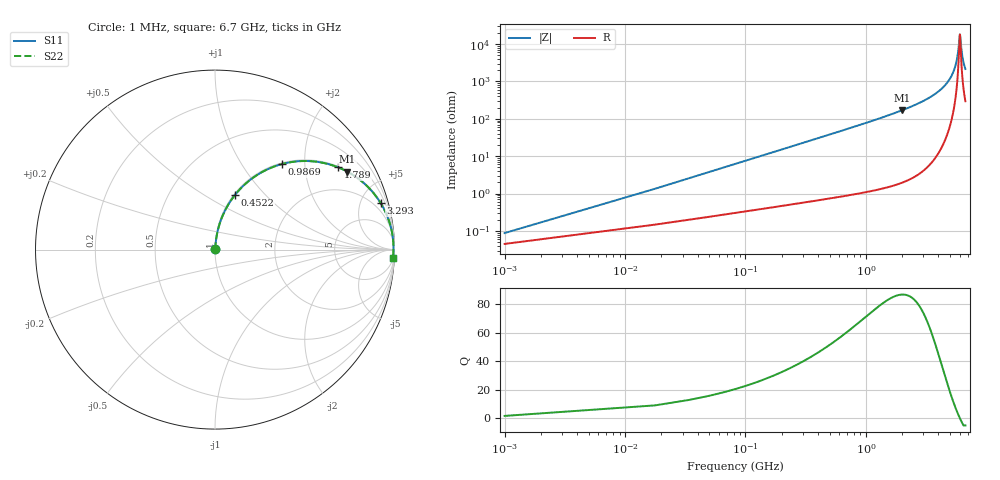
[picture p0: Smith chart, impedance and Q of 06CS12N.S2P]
! Coilcraft 0603CS-12N Chip Inductor
! 21 May 2002
# MHZ S MA R 50
!Freq  MagS11  AngS11  MagS21  AngS21  MagS12  AngS12  MagS22  AngS22
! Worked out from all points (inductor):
!   402 points, 1 MHz to 6.7 GHz, reference 50 ohm
!   read as one part in series: L = 12 nH near 34.42 MHz
!   highest Q = 86.6 at 1.989 GHz (marker M1), where L = 13.5 nH
!   self-resonance near 6.033 GHz
!   S11 on the Smith chart (normalised r, x): 1 MHz: 1.00, +0.00; 452.2 MHz: 1.01, +0.69; 986.9 MHz: 1.02, +1.53; 1.789 GHz: 1.03, +2.96; 3.293 GHz: 1.11, +7.07; 6.7 GHz: 7, -43
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1  0.0008777 59.1  0.9995 -0.0  0.9995 -0.0  0.0008777 59.1
51.13  0.03851 84.2  0.9969 -2.2  0.9969 -2.2  0.03851 84.2
67.84  0.05102 84.0  0.9959 -2.9  0.9959 -2.9  0.05102 84.0
101.26  0.07597 83.1  0.9938 -4.4  0.9938 -4.4  0.07597 83.1
151.39  0.1131 81.5  0.9896 -6.5  0.9896 -6.5  0.1131 81.5
234.94  0.1739 78.4  0.9798 -10.0  0.9798 -10.0  0.1739 78.4
452.17  0.3224 70.0  0.94 -18.8  0.94 -18.8  0.3224 70.0
986.89  0.6033 52.1  0.789 -37.1  0.789 -37.1  0.6033 52.1
1120.57  0.6542 48.4  0.7476 -40.9  0.7476 -40.9  0.6542 48.4
1788.97  0.824 33.9  0.5571 -55.5  0.5571 -55.5  0.824 33.9
1989.49  0.8554 30.5  0.5082 -58.8  0.5082 -58.8  0.8554 30.5
2240.14  0.8865 26.9  0.4525 -62.4  0.4525 -62.4  0.8865 26.9
3292.87  0.9585 15.7  0.2711 -73.4  0.2711 -73.4  0.9585 15.7
3359.71  0.9611 15.2  0.2617 -73.9  0.2617 -73.9  0.9611 15.2
4479.28  0.9871 7.5  0.1312 -80.6  0.1312 -80.6  0.9871 7.5
5147.68  0.9929 4.0  0.06976 -82.2  0.06976 -82.2  0.9929 4.0
5598.85  0.9944 1.9  0.03312 -79.3  0.03312 -79.3  0.9944 1.9
5799.37  0.9946 1.0  0.01811 -72.1  0.01811 -72.1  0.9946 1.0
5983.18  0.9945 0.2  0.00659 -33.8  0.00659 -33.8  0.9945 0.2
6033.31  0.9945 0.0  0.00552 -0.4  0.00552 -0.4  0.9945 0.0
6334.09  0.9939 -1.2  0.02201 73.3  0.02201 73.3  0.9939 -1.2
6700  0.9926 -2.6  0.04619 79.5  0.04619 79.5  0.9926 -2.6
